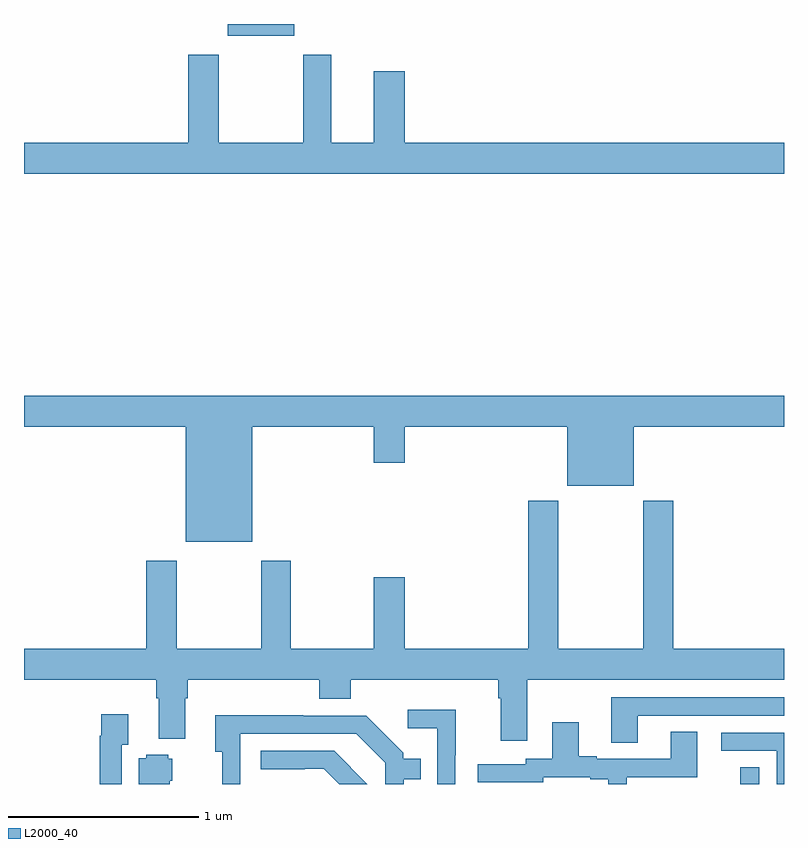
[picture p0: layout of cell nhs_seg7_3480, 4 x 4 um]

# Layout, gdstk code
import gdstk
lib = gdstk.Library(unit=1e-6, precision=1e-09)
def R(c, l, rs):  # rectangles x0, y0, x1, y1
    for r in rs: c.add(gdstk.rectangle(r[:2], r[2:], *l))
def P(c, l, *ps):  # polygons
    for p in ps: c.add(gdstk.Polygon(p, *l))
L2000_40 = (2000, 40)

nhs_seg7_3480 = lib.new_cell('nhs_seg7_3480')
R(nhs_seg7_3480, L2000_40, [(334.771,1068,334.869,1068.089), (332.072,1071.938,332.422,1072)])
P(nhs_seg7_3480, L2000_40, [(335,1071.376),(333.004,1071.376),(333.004,1071.751),(332.84,1071.751),(332.84,1071.376),(332.617,1071.376),(332.617,1071.838),(332.47,1071.838),(332.47,1071.376),(332.025,1071.376),(332.025,1071.838),(331.865,1071.838),(331.865,1071.376),(331,1071.376),(331,1071.212),(335,1071.212)],
  [(332.2,1069.88),(332.84,1069.88),(332.84,1069.692),(333.004,1069.692),(333.004,1069.88),(333.86,1069.88),(333.86,1069.571),(334.21,1069.571),(334.21,1069.88),(335,1069.88),(335,1070.044),(331,1070.044),(331,1069.88),(331.85,1069.88),(331.85,1069.274),(332.2,1069.274)],
  [(333.649,1068.548),(335,1068.548),(335,1068.712),(334.418,1068.712),(334.418,1069.492),(334.258,1069.492),(334.258,1068.712),(333.813,1068.712),(333.813,1069.492),(333.653,1069.492),(333.653,1068.712),(333.004,1068.712),(333.004,1069.087),(332.84,1069.087),(332.84,1068.712),(332.403,1068.712),(332.403,1069.174),(332.248,1069.174),(332.248,1068.712),(331.803,1068.712),(331.803,1069.174),(331.643,1069.174),(331.643,1068.712),(331,1068.712),(331,1068.548),(331.697,1068.548),(331.697,1068.452),(331.709,1068.452),(331.709,1068.239),(331.849,1068.239),(331.849,1068.452),(331.862,1068.452),(331.862,1068.548),(332.555,1068.548),(332.555,1068.449),(332.72,1068.449),(332.72,1068.548),(333.497,1068.548),(333.497,1068.452),(333.509,1068.452),(333.509,1068.228),(333.649,1068.228)],
  [(334.231,1068.36),(335,1068.36),(335,1068.456),(334.091,1068.456),(334.091,1068.217),(334.231,1068.217)],
  [(333.27,1068.152),(333.273,1068.152),(333.273,1068.391),(333.021,1068.391),(333.021,1068.293),(333.174,1068.293),(333.174,1068),(333.27,1068)],
  [(331.515,1068.206),(331.549,1068.206),(331.549,1068.367),(331.407,1068.367),(331.407,1068.254),(331.399,1068.254),(331.399,1068),(331.515,1068)],
  [(332.139,1068.264),(332.748,1068.264),(332.901,1068.111),(332.901,1068),(332.998,1068),(332.998,1068.024),(333.089,1068.024),(333.089,1068.133),(332.997,1068.133),(332.997,1068.165),(332.802,1068.36),(332.471,1068.36),(332.471,1068.362),(332.006,1068.362),(332.006,1068.17),(332.043,1068.17),(332.043,1068),(332.139,1068)],
  [(334.173,1068.036),(334.543,1068.036),(334.543,1068.275),(334.403,1068.275),(334.403,1068.132),(334.015,1068.132),(334.015,1068.145),(333.919,1068.145),(333.919,1068.325),(333.779,1068.325),(333.779,1068.132),(333.642,1068.132),(333.642,1068.105),(333.387,1068.105),(333.387,1068.009),(333.732,1068.009),(333.732,1068.036),(333.98,1068.036),(333.98,1068.024),(334.076,1068.024),(334.076,1068),(334.173,1068)],
  [(335,1068.27),(334.671,1068.27),(334.671,1068.174),(334.962,1068.174),(334.962,1068),(335,1068)],
  [(332.632,1068.174),(332.247,1068.174),(332.247,1068.078),(332.477,1068.078),(332.477,1068.081),(332.577,1068.081),(332.658,1068),(332.806,1068)],
  [(331.768,1068.018),(331.78,1068.018),(331.78,1068.132),(331.758,1068.132),(331.758,1068.154),(331.644,1068.154),(331.644,1068.136),(331.604,1068.136),(331.604,1068),(331.768,1068)])

lib.write_gds('nhs_seg7_3480.gds')
